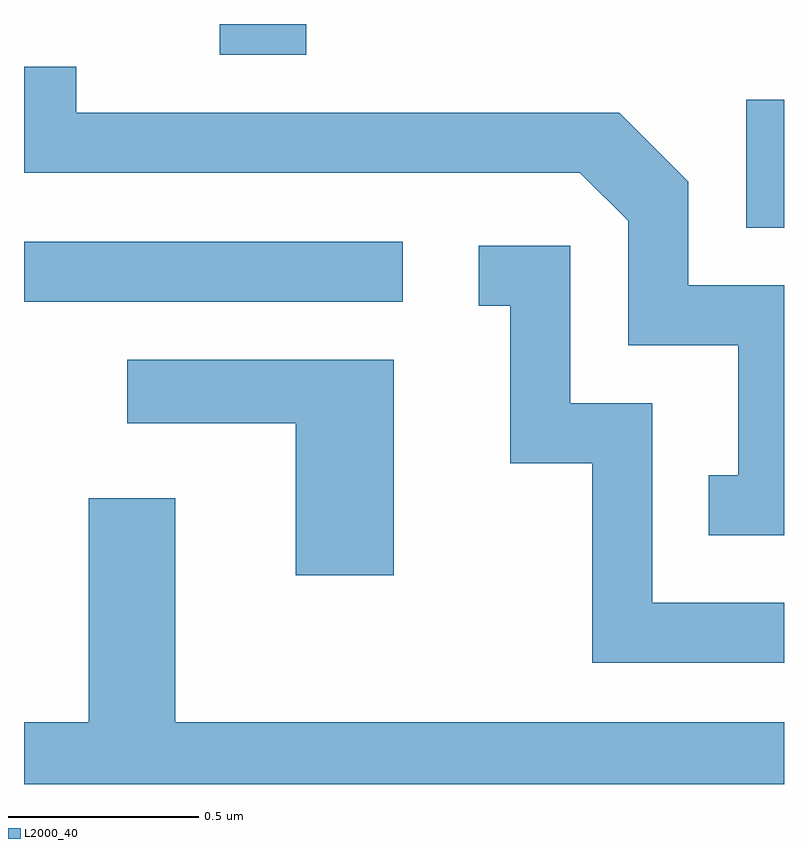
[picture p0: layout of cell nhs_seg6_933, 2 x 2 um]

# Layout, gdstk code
import gdstk
lib = gdstk.Library(unit=1e-6, precision=1e-09)
def R(c, l, rs):  # rectangles x0, y0, x1, y1
    for r in rs: c.add(gdstk.rectangle(r[:2], r[2:], *l))
def P(c, l, *ps):  # polygons
    for p in ps: c.add(gdstk.Polygon(p, *l))
L2000_40 = (2000, 40)

nhs_seg6_933 = lib.new_cell('nhs_seg6_933')
R(nhs_seg6_933, L2000_40, [(191.611,1642.431,192.608,1642.589), (193.511,1642.626,193.611,1642.963), (192.126,1643.081,192.354,1643.162)])
P(nhs_seg6_933, L2000_40, [(193.611,1642.474),(193.359,1642.474),(193.359,1642.747),(193.177,1642.929),(191.749,1642.929),(191.749,1643.049),(191.611,1643.049),(191.611,1642.771),(193.074,1642.771),(193.201,1642.644),(193.201,1642.316),(193.491,1642.316),(193.491,1641.974),(193.413,1641.974),(193.413,1641.816),(193.611,1641.816)],
  [(193.611,1641.639),(193.264,1641.639),(193.264,1642.164),(193.049,1642.164),(193.049,1642.579),(192.808,1642.579),(192.808,1642.421),(192.891,1642.421),(192.891,1642.006),(193.106,1642.006),(193.106,1641.481),(193.611,1641.481)],
  [(192.584,1642.279),(191.883,1642.279),(191.883,1642.111),(192.326,1642.111),(192.326,1641.711),(192.584,1641.711)],
  [(193.611,1641.324),(192.009,1641.324),(192.009,1641.914),(191.781,1641.914),(191.781,1641.324),(191.611,1641.324),(191.611,1641.162),(193.611,1641.162)])

lib.write_gds('nhs_seg6_933.gds')
